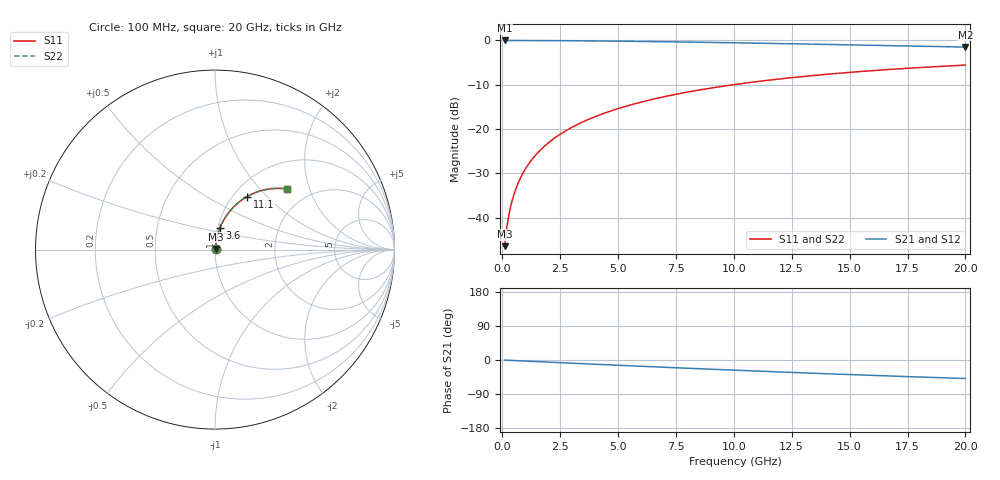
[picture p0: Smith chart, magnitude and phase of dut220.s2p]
! Touchstone file exported from HFSS 2026.1.0
!  File:  C:/ffzhzh/LocalFiles/Ansys_Project_Files/temp_train_TMRDL_220_1782984317_6248.aedt
!  Generated:  05:26:49 PM Jul  2, 2026
!  Design:  TMRDL
!  Project:  temp_train_TMRDL_220_1782984317_6248
! Variables:
!  h_bsmrdl = 2um
!  h_ox = 20um
!  h_rdl = 5um
!  h_sub = 80um
!  h_tmrdl = 5.26um
!  h_tsv = 80um
!  h_via = 3um
!  l_bsmrdl = 300um
!  l_sub = 1068.62um
!  l_tmrdl = 668.62um
!  m_sub = 200um
!  pitch = 57.85um
!  r_tsv = 6um
!  s_tmrdl = 10um
!  w_bsmrdl = 18um
!  w_sub = 500um
!  w_tmrdl = 15.02um
!  x_tsv_center1 = 676.13um
!  x_tsv_center2 = 994.13um
!  x_tsv_center3 = 1677.77um
!  x_tsv_center4 = 1995.77um
!  x_tsv_center5 = 2679.41um
!  x_tsv_center6 = 2997.41um
# GHz S MA R 50.000000
! Terminal data exported
! Port[1] = TM_RDL1_1_T1
! Port[2] = TM_RDL1_1_T2
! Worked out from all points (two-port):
!   200 points, 100 MHz to 20 GHz, reference 50 ohm
!   highest |S21| = -0.03 dB at 100 MHz (marker M1); lowest = -1.5 dB at 20 GHz (marker M2)
!   |S21| within 3 dB of the highest: start of sweep to end of sweep
!   lowest |S11| = -46.4 dB at 100 MHz (marker M3), VSWR 1.01, Z = 50.3 + j0.366 ohm
!   |S11| at or under -10 dB: start of sweep to 9.992 GHz
!   |S22| runs from -46.4 to -5.6 dB; largest |S21 - S12| = 8.2e-15
!   S11 on the Smith chart (normalised r, x): 100 MHz: 1.01, +0.01; 3.6 GHz: 1.02, +0.25; 11.1 GHz: 1.16, +0.78; 20 GHz: 1.54, +1.44
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0.1  0.004774 49.7  0.9969 -0.3  0.9969 -0.3  0.004774 49.7
! Gamma 0 0 0 0
! Port Impedance 50 0 50 0
0.2  0.00792 65.9  0.9968 -0.6  0.9968 -0.6  0.00792 65.9
0.3  0.0113 72.4  0.9967 -0.9  0.9967 -0.9  0.0113 72.4
0.4  0.01473 75.7  0.9966 -1.2  0.9966 -1.2  0.01473 75.7
0.5  0.01817 77.8  0.9964 -1.4  0.9964 -1.4  0.01817 77.8
0.7  0.0251 79.9  0.9962 -2.0  0.9962 -2.0  0.0251 79.9
0.8  0.02858 80.5  0.996 -2.3  0.996 -2.3  0.02858 80.5
1  0.03554 81.2  0.9957 -2.9  0.9957 -2.9  0.03554 81.2
1.4  0.04945 81.5  0.9949 -4.0  0.9949 -4.0  0.04945 81.5
1.7  0.05985 81.2  0.9941 -4.8  0.9941 -4.8  0.05985 81.2
2  0.0702 80.8  0.9932 -5.7  0.9932 -5.7  0.0702 80.8
2.7  0.09412 79.4  0.9907 -7.6  0.9907 -7.6  0.09412 79.4
3.5  0.121 77.5  0.9871 -9.8  0.9871 -9.8  0.121 77.5
3.6  0.1243 77.3  0.9866 -10.1  0.9866 -10.1  0.1243 77.3
5  0.1698 73.7  0.9786 -13.9  0.9786 -13.9  0.1698 73.8
6.8  0.2256 69.2  0.9661 -18.7  0.9661 -18.7  0.2256 69.3
8.3  0.2695 65.5  0.954 -22.5  0.954 -22.5  0.2695 65.6
10.1  0.3191 61.2  0.9379 -27.0  0.9379 -27.0  0.3191 61.2
11.1  0.3451 58.8  0.9285 -29.5  0.9285 -29.5  0.3451 58.9
13.4  0.4004 53.6  0.9057 -34.9  0.9057 -34.9  0.4004 53.6
16.7  0.4691 46.4  0.872 -42.2  0.872 -42.2  0.4691 46.5
20  0.5258 39.8  0.8392 -48.9  0.8392 -48.9  0.5258 39.9
